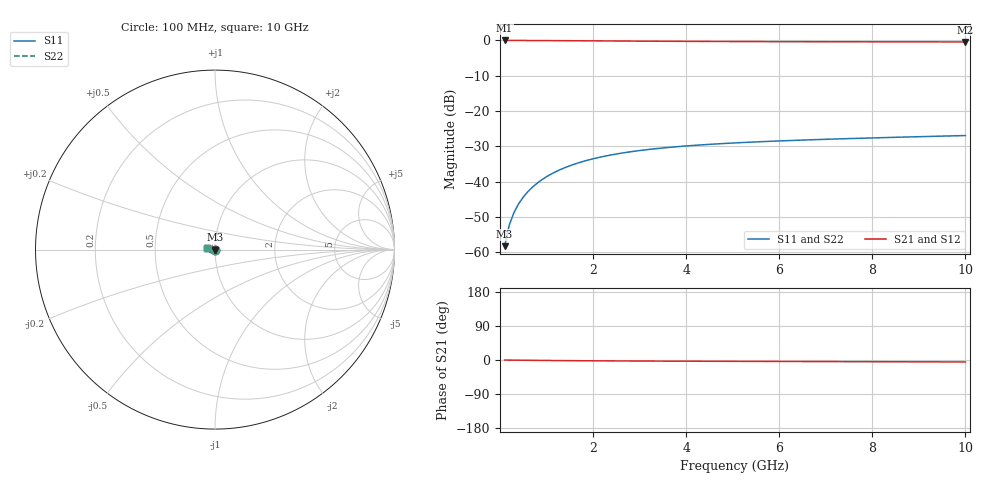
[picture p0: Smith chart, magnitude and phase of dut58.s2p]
! Touchstone file exported from HFSS 2024.1.0
!  File:  C:/UserFiles/LocalFiles/RDL_TSV_Batchsim/temp_TSV1_58_1779372743.aedt
!  Generated:  10:16:55 PM May 21, 2026
!  Design:  TSV1
!  Project:  temp_TSV1_58_1779372743
!  Setup:  Setup1
!  Solution:  Sweep
! Variables:
!  dtsv = 10.76um
!  hbump = 3um
!  htsv = 78.15um
!  lrdl = 252.1521522um
!  p = 40
!  p1 = 58.73um
!  t = 500um
!  trdl = 3um
!  wrdl = 24.89489489um
# GHz S MA R 50.000000
! Terminal data exported
! Port[1] = TSV22_T1
! Port[2] = TSV22_T2
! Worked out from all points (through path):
!   100 points, 100 MHz to 10 GHz, reference 50 ohm
!   highest |S21| = 0.00 dB at 100 MHz (marker M1); lowest = -0.4 dB at 10 GHz (marker M2)
!   lowest |S11| = -58.2 dB at 100 MHz (marker M3), VSWR 1.00, Z = 50 - j0.122 ohm
!   |S11| at or under -10 dB: start of sweep to end of sweep
!   |S22| runs from -58.2 to -26.9 dB; largest |S21 - S12| = 5.1e-15
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0.1  0.001224 -86.4  0.9998 -0.1  0.9998 -0.1  0.001224 -86.4
! Gamma 0 0 0 0
! Port Impedance 50 0 50 0
0.2  0.002439 -91.1  0.9997 -0.3  0.9997 -0.3  0.002439 -91.1
0.3  0.003653 -94.1  0.9994 -0.4  0.9994 -0.4  0.003653 -94.1
0.4  0.00486 -96.6  0.9991 -0.5  0.9991 -0.5  0.00486 -96.6
0.5  0.006058 -98.9  0.9987 -0.6  0.9987 -0.6  0.006058 -98.9
0.6  0.007241 -101.2  0.9982 -0.8  0.9982 -0.8  0.007241 -101.2
0.7  0.008406 -103.3  0.9977 -0.9  0.9977 -0.9  0.008406 -103.3
0.8  0.00955 -105.5  0.9971 -1.0  0.9971 -1.0  0.00955 -105.5
0.9  0.01067 -107.5  0.9964 -1.1  0.9964 -1.1  0.01067 -107.5
1.1  0.01284 -111.5  0.9949 -1.3  0.9949 -1.3  0.01284 -111.5
1.4  0.01587 -117.3  0.9924 -1.6  0.9924 -1.6  0.01587 -117.3
1.6  0.01774 -120.9  0.9906 -1.8  0.9906 -1.8  0.01774 -120.9
1.8  0.01949 -124.3  0.9887 -2.0  0.9887 -2.0  0.01949 -124.3
2.1  0.02189 -129.2  0.9859 -2.2  0.9859 -2.2  0.02189 -129.2
2.5  0.02468 -135.3  0.9822 -2.4  0.9822 -2.4  0.02468 -135.3
2.9  0.02708 -140.8  0.9787 -2.7  0.9787 -2.7  0.02708 -140.8
3.4  0.0296 -146.9  0.9749 -2.9  0.9749 -2.9  0.0296 -146.9
4.2  0.03281 -155.5  0.9697 -3.2  0.9697 -3.2  0.03281 -155.5
5.1  0.03558 -163.6  0.9652 -3.5  0.9652 -3.5  0.03558 -163.6
6.7  0.03928 -175.4  0.9597 -4.1  0.9597 -4.1  0.03928 -175.4
8.4  0.0424 174.6  0.9559 -4.6  0.9559 -4.6  0.0424 174.6
10  0.04504 166.7  0.9536 -5.2  0.9536 -5.2  0.04504 166.7
